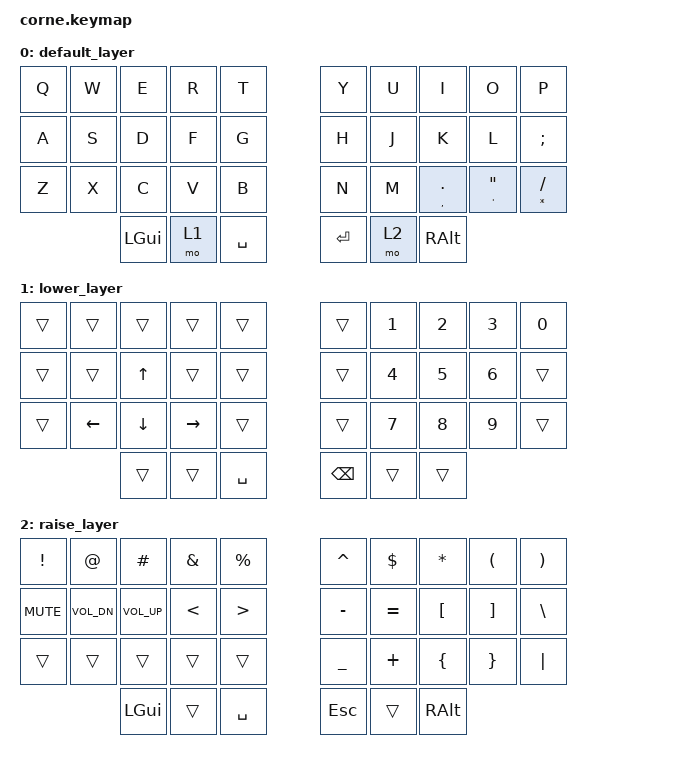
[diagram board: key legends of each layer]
/*
 * Copyright (c) 2020 The ZMK Contributors
 *
 * SPDX-License-Identifier: MIT
 */

#include <behaviors.dtsi>
#include <dt-bindings/zmk/keys.h>

/ {
    keymap {
        compatible = "zmk,keymap";

        default_layer {
            // -----------------------------------------------------------------------------------------
            // |  Q  |  W  |  E  |  R  |  T  |   |  Y  |  U   |  I  |  O  |  P  |
            // |  A  |  S  |  D  |  F  |  G  |   |  H  |  J   |  K  |  L  |  ;  |
            // |  Z  |  X  |  C  |  V  |  B  |   |  N  |  M   | ,/. | '/" | */ / |
            //                    | GUI | LWR | SPC |   | ENT | RSE  | ALT |
            bindings = <
    &kp Q  &kp W  &kp E  &kp R  &kp T      &kp Y  &kp U  &kp I          &kp O                 &kp P
    &kp A  &kp S  &kp D  &kp F  &kp G      &kp H  &kp J  &kp K          &kp L                 &kp SEMI
    &kp Z  &kp X  &kp C  &kp V  &kp B      &kp N  &kp M  &mt COMMA DOT  &mt SQT DOUBLE_QUOTES &mt STAR FSLH
              &kp LGUI &mo 1 &kp SPACE     &kp ENTER &mo 2 &kp RALT
            >;
        };

        lower_layer {
            // -----------------------------------------------------------------------------------------
            // |     |     |     |     |     |   |     |  1  |  2  |  3  |  0  |
            // |     |     |  UP |     |     |   |     |  4  |  5  |  6  |     |
            // |     | LFT | DWN | RGT |     |   |     |  7  |  8  |  9  |     |
            //                    |     |     | SPC |   | BSPC |     |     |
            bindings = <
    &trans  &trans    &trans    &trans     &trans      &trans  &kp N1  &kp N2  &kp N3  &kp N0
    &trans  &trans    &kp UP    &trans     &trans      &trans  &kp N4  &kp N5  &kp N6  &trans
    &trans  &kp LEFT  &kp DOWN  &kp RIGHT  &trans      &trans  &kp N7  &kp N8  &kp N9  &trans
                          &trans &trans &kp SPACE      &kp BSPC &trans &trans
            >;
        };

        raise_layer {
            // -----------------------------------------------------------------------------------------
            // |  !  |  @  |  #  |  &  |  %  |   |  ^  |  $  |  * |  (  |  )  |
            // | MUTE| V_DN| V_UP|  <  |  >  |   |  -  |  =  |  [  |  ]  |  \  |
            // |     |     |     |     |     |   |  _  |  +  |  {  |  }  | "|" |
            //                    | GUI |     | SPC |   | ESC |     | ALT |
            bindings = <
    &kp EXCL     &kp AT           &kp HASH       &kp AMPERSAND  &kp PRCNT         &kp CARET  &kp DOLLAR  &kp ASTRK  &kp LPAR  &kp RPAR
    &kp C_MUTE   &kp C_VOL_DN     &kp C_VOL_UP   &kp LESS_THAN  &kp GREATER_THAN  &kp MINUS  &kp EQUAL   &kp LBKT   &kp RBKT  &kp BSLH
    &trans       &trans           &trans         &trans         &trans            &kp UNDER  &kp PLUS    &kp LBRC   &kp RBRC  &kp PIPE
                                           &kp LGUI &trans &kp SPACE            &kp ESC &trans &kp RALT
            >;
        };
    };
};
